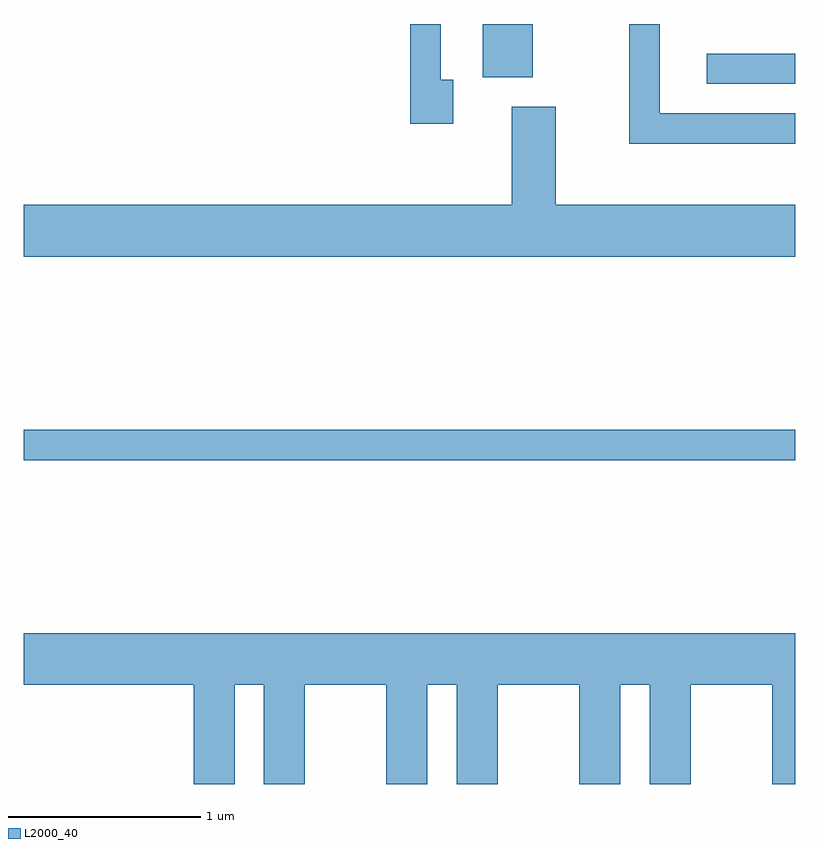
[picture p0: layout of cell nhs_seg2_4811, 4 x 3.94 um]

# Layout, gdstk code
import gdstk
lib = gdstk.Library(unit=1e-6, precision=1e-09)
def R(c, l, rs):  # rectangles x0, y0, x1, y1
    for r in rs: c.add(gdstk.rectangle(r[:2], r[2:], *l))
def P(c, l, *ps):  # polygons
    for p in ps: c.add(gdstk.Polygon(p, *l))
L2000_40 = (2000, 40)

nhs_seg2_4811 = lib.new_cell('nhs_seg2_4811')
R(nhs_seg2_4811, L2000_40, [(327.611,989.541,331.611,989.699), (331.153,991.491,331.611,991.649), (329.991,991.526,330.249,991.802)])
P(nhs_seg2_4811, L2000_40, [(331.611,991.339),(330.909,991.339),(330.909,991.802),(330.751,991.802),(330.751,991.181),(331.611,991.181)],
  [(329.839,991.514),(329.774,991.514),(329.774,991.802),(329.616,991.802),(329.616,991.286),(329.839,991.286)],
  [(331.611,990.864),(330.369,990.864),(330.369,991.374),(330.141,991.374),(330.141,990.864),(327.611,990.864),(327.611,990.596),(331.611,990.596)],
  [(327.611,988.376),(328.491,988.376),(328.491,987.861),(328.704,987.861),(328.704,988.376),(328.856,988.376),(328.856,987.861),(329.069,987.861),(329.069,988.376),(329.491,988.376),(329.491,987.861),(329.704,987.861),(329.704,988.376),(329.856,988.376),(329.856,987.861),(330.069,987.861),(330.069,988.376),(330.491,988.376),(330.491,987.861),(330.704,987.861),(330.704,988.376),(330.856,988.376),(330.856,987.861),(331.069,987.861),(331.069,988.376),(331.491,988.376),(331.491,987.861),(331.611,987.861),(331.611,988.644),(327.611,988.644)])

lib.write_gds('nhs_seg2_4811.gds')
